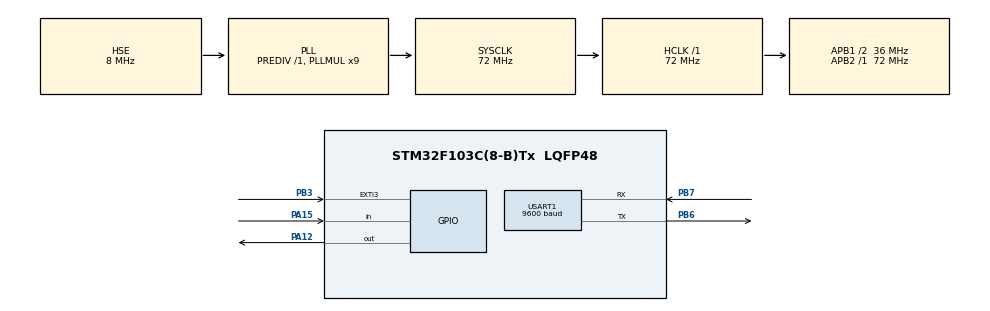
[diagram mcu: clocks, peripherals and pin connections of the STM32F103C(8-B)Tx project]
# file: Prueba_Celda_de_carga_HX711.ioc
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Mcu.Family=STM32F1
Mcu.Name=STM32F103C(8-B)Tx
Mcu.Package=LQFP48
NVIC.EXTI3_IRQn=true\:0\:0\:false\:false\:true\:true\:true\:true
NVIC.PriorityGroup=NVIC_PRIORITYGROUP_4
NVIC.TIM1_CC_IRQn=true\:0\:0\:false\:false\:true\:true\:true\:true
NVIC.USART1_IRQn=true\:0\:0\:false\:false\:true\:true\:true\:true
PA12.GPIO_Speed=GPIO_SPEED_FREQ_HIGH
PA12.Signal=GPIO_Output
PA13.Mode=Serial_Wire
PA13.Signal=SYS_JTMS-SWDIO
PA14.Mode=Serial_Wire
PA14.Signal=SYS_JTCK-SWCLK
PA15.GPIO_PuPd=GPIO_PULLUP
PA15.Signal=GPIO_Input
PB3.GPIO_ModeDefaultEXTI=GPIO_MODE_IT_FALLING
PB3.Signal=GPXTI3
PB6.Mode=Asynchronous
PB6.Signal=USART1_TX
PB7.Mode=Asynchronous
PB7.Signal=USART1_RX
PD0-OSC_IN.Mode=HSE-External-Oscillator
PD0-OSC_IN.Signal=RCC_OSC_IN
PD1-OSC_OUT.Mode=HSE-External-Oscillator
PD1-OSC_OUT.Signal=RCC_OSC_OUT
ProjectManager.HeapSize=0x200
ProjectManager.StackSize=0x400
ProjectManager.TargetToolchain=STM32CubeIDE
RCC.AHBFreq_Value=72000000
RCC.APB1CLKDivider=RCC_HCLK_DIV2
RCC.APB1Freq_Value=36000000
RCC.APB1TimFreq_Value=72000000
RCC.APB2Freq_Value=72000000
RCC.APB2TimFreq_Value=72000000
RCC.HCLKFreq_Value=72000000
RCC.PLLMUL=RCC_PLL_MUL9
RCC.PLLSourceVirtual=RCC_PLLSOURCE_HSE
RCC.SYSCLKFreq_VALUE=72000000
RCC.SYSCLKSource=RCC_SYSCLKSOURCE_PLLCLK
RCC.USBFreq_Value=72000000
TIM1.Period=65535
TIM1.Prescaler=72
USART1.BaudRate=9600
USART1.VirtualMode=VM_ASYNC
VP_TIM1_VS_ClockSourceINT.Mode=Internal
board=custom

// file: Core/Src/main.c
/* USER CODE BEGIN Header */
/**
  ******************************************************************************
  * @file           : main.c
  * @brief          : Main program body
  ******************************************************************************
  * @attention
  *
  * Copyright (c) 2022 STMicroelectronics.
  * All rights reserved.
  *
  * This software is licensed under terms that can be found in the LICENSE file
  * in the root directory of this software component.
  * If no LICENSE file comes with this software, it is provided AS-IS.
  *
  ******************************************************************************
  */
/* USER CODE END Header */
#include "main.h"

/* USER CODE BEGIN Includes */
#include "stdio.h"
#include "string.h"
/* USER CODE END Includes */

/* USER CODE BEGIN PD */
#define P1 0.0
#define P2 500.0
/* USER CODE END PD */

TIM_HandleTypeDef htim1;

UART_HandleTypeDef huart1;

void SystemClock_Config(void);
static void MX_GPIO_Init(void);
static void MX_TIM1_Init(void);
static void MX_USART1_UART_Init(void);
/* USER CODE BEGIN PFP */
void Delay_Microseconds(uint16_t);
uint32_t HX711_Read_Value(_Bool);
uint32_t HX711_Read_Average(uint8_t);
float HX711_Set_Scale(uint16_t,uint8_t);
/* USER CODE END PFP */

/* USER CODE BEGIN 0 */

//_Bool flag_pulsador=0;
_Bool flag_recepcion=0;

void HAL_UART_RxCpltCallback(UART_HandleTypeDef *huart){

	flag_recepcion=1;
}

void Delay_Microseconds(uint16_t us)
{
	__HAL_TIM_SET_COUNTER(&htim1,0);  // set the counter value a 0
	while (__HAL_TIM_GET_COUNTER(&htim1) < us);  // wait for the counter to reach the us input in the parameter
}

uint32_t HX711_Read_Value(_Bool format){

	uint32_t dataca2=0; // Dato leído en formato complemento a 2
	uint32_t databin=0; // Dato leído en formato binario

	/* Realizamos una encuesta (polling) sobre el pin de datos (DOUT). Mientras el pin DOUT se mantiene en 1,
	 * no hay comunicación entre el módulo HX711 y el microcontrolador, puesto que aún no ha finalizado la
	 * conversión. Cuando el pin DOUT pasa de 1 a 0, el amplificador está listo para enviar el dato */
	while(HAL_GPIO_ReadPin(GPIOA, GPIO_PIN_15) == GPIO_PIN_SET){
		Delay_Microseconds(1);
	}
	/* Una vez que se lee un 0 en el pin DOUT, enviamos 25 pulsos de reloj a través de la señal PD_SCK para
	 * obtener el dato en complemento a 2, con una ganancia de 128 */
	for(int i=0;i<24;i++){
	    HAL_GPIO_WritePin(GPIOA, GPIO_PIN_12, GPIO_PIN_SET);
		Delay_Microseconds(1);
		HAL_GPIO_WritePin(GPIOA, GPIO_PIN_12, GPIO_PIN_RESET);
		Delay_Microseconds(1);
		dataca2=dataca2<<1;
		if(HAL_GPIO_ReadPin(GPIOA, GPIO_PIN_15) == GPIO_PIN_SET){
		   dataca2++;
		}
	}
	HAL_GPIO_WritePin(GPIOA, GPIO_PIN_12, GPIO_PIN_SET);
	Delay_Microseconds(1);
	HAL_GPIO_WritePin(GPIOA, GPIO_PIN_12, GPIO_PIN_RESET);
	Delay_Microseconds(1);

	/* Para convertir de complemento a 2 a binario, debemos restarle 1 al complemento a 2 para obtener el
	 * complemento a 1 del número. Luego, debemos negar el complemento a 1 (es decir, convertir cada 0 en 1
	 * y cada 1 en 0) para obtener el número binario equivalente. */
	databin=16777216-dataca2;
	if(format == 1){
		return databin;
	}
	else return dataca2;
}

/* Función que promedia una determinada cantidad de muestras tomadas del HX711 cada 1 ms */
uint32_t HX711_Read_Average(uint8_t cant){

	uint32_t dataread; // Dato leído (en formato binario)
	uint64_t sumdata=0;
	uint32_t ave; // Promedio de los datos muestreados
	for(int j=0;j<cant;j++){
		dataread=HX711_Read_Value(1);
		sumdata=sumdata+dataread;
		HAL_Delay(1);
	}
	ave=sumdata/cant;
	return ave;
}

/* Función que permite obtener la escala del sensor cuando se apoya un objeto con peso conocido */
float HX711_Set_Scale(uint16_t pesoreal, uint8_t cantmuestras){

	float scale;
	uint32_t prom;

	prom=HX711_Read_Average(cantmuestras);

	/* Para obtener la escala del sensor, dividimos el valor promedio de lectura por el peso real del objeto */
	scale=prom/pesoreal; // Escala obtenida a partir del peso real del objeto en gramos
	return scale;
}

/*void HAL_GPIO_EXTI_Callback(uint16_t pin){

	flag_pulsador=1;
}*/

/* USER CODE END 0 */

int main(void)
{

  /* MCU Configuration--------------------------------------------------------*/

  /* Reset of all peripherals, Initializes the Flash interface and the Systick. */
  HAL_Init();

  /* Configure the system clock */
  SystemClock_Config();

  /* Initialize all configured peripherals */
  MX_GPIO_Init();
  MX_TIM1_Init();
  MX_USART1_UART_Init();
  /* USER CODE BEGIN 2 */
  HAL_TIM_Base_Start(&htim1);

  //uint32_t ca2=0;
  //uint32_t bin=0;
  //float escala; // Escala
  //float coefcal; // Coeficiente de calibración
  uint32_t tara; // Variable para guardar el valor leído del sensor cuando no hay peso colocado
  float peso;
  uint32_t val2; // Variable para guardar el valor leído del sensor cuando se coloca un peso conocido
  float m=0,b=0;
  uint32_t val; // Valor leído del sensor
  uint8_t buf[40];
  uint8_t buf2[1];

  sprintf((char*)buf,"*AEstableciendo tara...\n*");
  HAL_UART_Transmit(&huart1, buf, strlen((const char*)buf),100);
  tara=HX711_Read_Average(20); // Establecemos la tara del sensor

  sprintf((char*)buf,"*AInserte un peso conocido\n*");
  HAL_UART_Transmit(&huart1, buf, strlen((const char*)buf),100);
/*  while(flag_recepcion==0){
	  HAL_UART_Receive_IT(&huart1, buf2, sizeof(buf2));
  }*/
  flag_recepcion=0;
  //HAL_UART_Receive(&huart1, buf2, sizeof(buf2), 100)
  while(HAL_UART_Receive(&huart1, buf2, sizeof(buf2), 1) != HAL_OK){
		 Delay_Microseconds(1);
  }
  val2=HX711_Read_Average(20); // Valor asociado al peso conocido
  m=(P2-P1)/(val2-tara);
  b=P1-m*tara;
  sprintf((char*)buf,"*AEscala de peso ajustada\n*");
  HAL_UART_Transmit(&huart1, buf, strlen((const char*)buf),100);
  sprintf((char*)buf,"*ARetirar objeto\n*");
  HAL_UART_Transmit(&huart1, buf, strlen((const char*)buf),100);
  while(HAL_UART_Receive(&huart1, buf2, sizeof(buf2), 1) != HAL_OK){
	 Delay_Microseconds(1);
  }
  /*tara=HX711_Read_Average(20); // Establecemos la tara del sensor
   Mientras no se coloque un objeto sobre la celda de carga, el programa se queda esperando. Una vez que
   * el usuario coloca el peso conocido, debe presionar el pulsador para que avance el programa y obtenga
   * el valor leído del sensor asociado a ese peso conocido
  while(flag_pulsador==0){
  }
  val2=HX711_Read_Average(20); // Valor asociado al peso conocido
  m=(P2-P1)/(val2-tara);
  b=P1-m*tara;*/
  //escala = HX711_Set_Scale(500,20);

  //coefcal=(HX711_Read_Average(20)-tara)/escala;

  /* USER CODE END 2 */

  /* Infinite loop */
  while (1)
  {

    /* USER CODE BEGIN 3 */
	  //ca2=HX711_Read_Value(0);
	  //bin=HX711_Read_Value(1);
	  val=HX711_Read_Average(20);
	  peso=m*val+b;
	  sprintf((char*)buf,"*APeso del objeto: %4.1f\n*",peso);
	  HAL_UART_Transmit(&huart1, buf, strlen((const char*)buf),100);

  }
  /* USER CODE END 3 */
}

void SystemClock_Config(void)
{
  RCC_OscInitTypeDef RCC_OscInitStruct = {0};
  RCC_ClkInitTypeDef RCC_ClkInitStruct = {0};

  /** Initializes the RCC Oscillators according to the specified parameters
  * in the RCC_OscInitTypeDef structure.
  */
  RCC_OscInitStruct.OscillatorType = RCC_OSCILLATORTYPE_HSE;
  RCC_OscInitStruct.HSEState = RCC_HSE_ON;
  RCC_OscInitStruct.HSEPredivValue = RCC_HSE_PREDIV_DIV1;
  RCC_OscInitStruct.HSIState = RCC_HSI_ON;
  RCC_OscInitStruct.PLL.PLLState = RCC_PLL_ON;
  RCC_OscInitStruct.PLL.PLLSource = RCC_PLLSOURCE_HSE;
  RCC_OscInitStruct.PLL.PLLMUL = RCC_PLL_MUL9;
  if (HAL_RCC_OscConfig(&RCC_OscInitStruct) != HAL_OK)
  {
    Error_Handler();
  }

  /** Initializes the CPU, AHB and APB buses clocks
  */
  RCC_ClkInitStruct.ClockType = RCC_CLOCKTYPE_HCLK|RCC_CLOCKTYPE_SYSCLK
                              |RCC_CLOCKTYPE_PCLK1|RCC_CLOCKTYPE_PCLK2;
  RCC_ClkInitStruct.SYSCLKSource = RCC_SYSCLKSOURCE_PLLCLK;
  RCC_ClkInitStruct.AHBCLKDivider = RCC_SYSCLK_DIV1;
  RCC_ClkInitStruct.APB1CLKDivider = RCC_HCLK_DIV2;
  RCC_ClkInitStruct.APB2CLKDivider = RCC_HCLK_DIV1;

  if (HAL_RCC_ClockConfig(&RCC_ClkInitStruct, FLASH_LATENCY_2) != HAL_OK)
  {
    Error_Handler();
  }
}

static void MX_TIM1_Init(void)
{

  TIM_ClockConfigTypeDef sClockSourceConfig = {0};
  TIM_MasterConfigTypeDef sMasterConfig = {0};

  htim1.Instance = TIM1;
  htim1.Init.Prescaler = 72;
  htim1.Init.CounterMode = TIM_COUNTERMODE_UP;
  htim1.Init.Period = 65535;
  htim1.Init.ClockDivision = TIM_CLOCKDIVISION_DIV1;
  htim1.Init.RepetitionCounter = 0;
  htim1.Init.AutoReloadPreload = TIM_AUTORELOAD_PRELOAD_DISABLE;
  if (HAL_TIM_Base_Init(&htim1) != HAL_OK)
  {
    Error_Handler();
  }
  sClockSourceConfig.ClockSource = TIM_CLOCKSOURCE_INTERNAL;
  if (HAL_TIM_ConfigClockSource(&htim1, &sClockSourceConfig) != HAL_OK)
  {
    Error_Handler();
  }
  sMasterConfig.MasterOutputTrigger = TIM_TRGO_RESET;
  sMasterConfig.MasterSlaveMode = TIM_MASTERSLAVEMODE_DISABLE;
  if (HAL_TIMEx_MasterConfigSynchronization(&htim1, &sMasterConfig) != HAL_OK)
  {
    Error_Handler();
  }

}

static void MX_USART1_UART_Init(void)
{

  huart1.Instance = USART1;
  huart1.Init.BaudRate = 9600;
  huart1.Init.WordLength = UART_WORDLENGTH_8B;
  huart1.Init.StopBits = UART_STOPBITS_1;
  huart1.Init.Parity = UART_PARITY_NONE;
  huart1.Init.Mode = UART_MODE_TX_RX;
  huart1.Init.HwFlowCtl = UART_HWCONTROL_NONE;
  huart1.Init.OverSampling = UART_OVERSAMPLING_16;
  if (HAL_UART_Init(&huart1) != HAL_OK)
  {
    Error_Handler();
  }

}

static void MX_GPIO_Init(void)
{
  GPIO_InitTypeDef GPIO_InitStruct = {0};

  /* GPIO Ports Clock Enable */
  __HAL_RCC_GPIOD_CLK_ENABLE();
  __HAL_RCC_GPIOA_CLK_ENABLE();
  __HAL_RCC_GPIOB_CLK_ENABLE();

  /*Configure GPIO pin Output Level */
  HAL_GPIO_WritePin(GPIOA, GPIO_PIN_12, GPIO_PIN_RESET);

  /*Configure GPIO pin : PA12 */
  GPIO_InitStruct.Pin = GPIO_PIN_12;
  GPIO_InitStruct.Mode = GPIO_MODE_OUTPUT_PP;
  GPIO_InitStruct.Pull = GPIO_NOPULL;
  GPIO_InitStruct.Speed = GPIO_SPEED_FREQ_HIGH;
  HAL_GPIO_Init(GPIOA, &GPIO_InitStruct);

  /*Configure GPIO pin : PA15 */
  GPIO_InitStruct.Pin = GPIO_PIN_15;
  GPIO_InitStruct.Mode = GPIO_MODE_INPUT;
  GPIO_InitStruct.Pull = GPIO_PULLUP;
  HAL_GPIO_Init(GPIOA, &GPIO_InitStruct);

  /*Configure GPIO pin : PB3 */
  GPIO_InitStruct.Pin = GPIO_PIN_3;
  GPIO_InitStruct.Mode = GPIO_MODE_IT_FALLING;
  GPIO_InitStruct.Pull = GPIO_NOPULL;
  HAL_GPIO_Init(GPIOB, &GPIO_InitStruct);

  /* EXTI interrupt init*/
  HAL_NVIC_SetPriority(EXTI3_IRQn, 0, 0);
  HAL_NVIC_EnableIRQ(EXTI3_IRQn);

}

void Error_Handler(void)
{
  __disable_irq();
  while (1)
  {
  }
}
